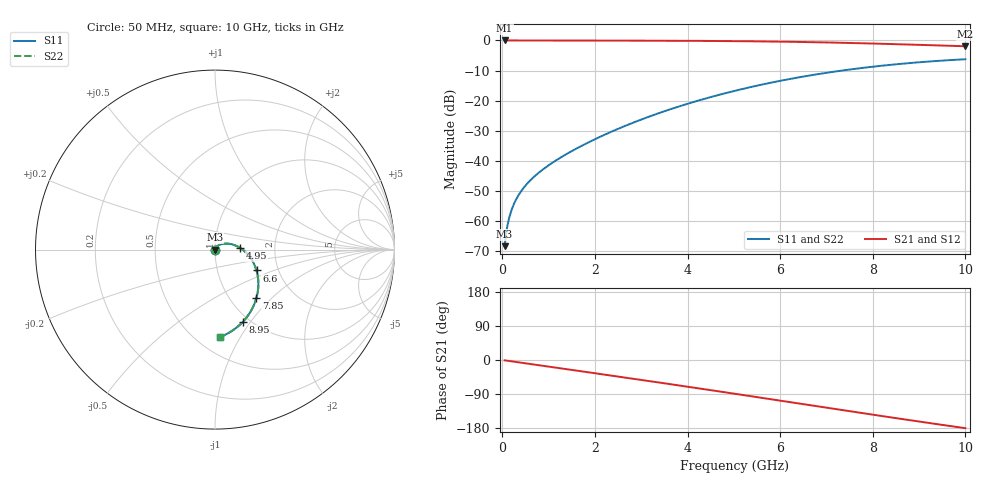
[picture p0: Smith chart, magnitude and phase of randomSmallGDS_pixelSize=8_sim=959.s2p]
! freq	dB(S11)	phase(S11)	dB(S12)	phase(S12)
!  dB(S21)	phase(S21)	dB(S22)	phase(S22)
!S-par simulation data
#  GHz  S  DB  R 50
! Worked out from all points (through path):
!   200 points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, 50 MHz to 10 GHz, reference 50 ohm
!   highest |S21| = 0.00 dB at 50 MHz (marker M1); lowest = -1.9 dB at 10 GHz (marker M2)
!   group delay of S21, straight-line fit = 50.4 ps
!   lowest |S11| = -68.4 dB at 50 MHz (marker M3), VSWR 1.00, Z = 50 + j0.0379 ohm
!   |S11| at or under -10 dB: start of sweep to 7.337 GHz
!   |S22| runs from -68.4 to -6.2 dB; largest |S21 - S12| = 0
!   S11 on the Smith chart (normalised r, x): 50 MHz: 1.00, +0.00; 4.95 GHz: 1.33, +0.02; 6.6 GHz: 1.54, -0.39; 7.85 GHz: 1.32, -0.81; 8.95 GHz: 0.93, -0.92; 10 GHz: 0.65, -0.83
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0.05  -68.37 83.5  -0.00 -0.9  -0.00 -0.9  -68.37 83.5
0.1  -62.37 85.3  -0.00 -1.8  -0.00 -1.8  -62.37 85.3
0.15  -58.85 85.3  -0.00 -2.6  -0.00 -2.6  -58.85 85.3
0.2  -56.34 84.9  -0.00 -3.5  -0.00 -3.5  -56.34 84.9
0.3  -52.79 83.5  -0.00 -5.3  -0.00 -5.3  -52.79 83.5
0.45  -49.19 81.3  -0.01 -7.9  -0.01 -7.9  -49.19 81.3
0.65  -45.81 78.3  -0.01 -11.4  -0.01 -11.4  -45.81 78.2
0.95  -42.04 73.8  -0.02 -16.6  -0.02 -16.6  -42.04 73.7
1.3  -38.54 68.4  -0.03 -22.7  -0.03 -22.7  -38.54 68.3
1.75  -34.73 61.0  -0.04 -30.6  -0.04 -30.6  -34.73 61.0
2.55  -29.04 47.2  -0.05 -44.6  -0.05 -44.6  -29.04 47.1
3.4  -24.06 31.9  -0.09 -59.7  -0.09 -59.7  -24.06 31.8
4.2  -20.13 17.4  -0.14 -74.1  -0.14 -74.1  -20.13 17.3
4.95  -17.01 3.7  -0.21 -87.8  -0.21 -87.8  -17.01 3.6
5.05  -16.63 1.9  -0.23 -89.6  -0.23 -89.6  -16.63 1.8
5.8  -14.04 -12.0  -0.35 -103.5  -0.35 -103.5  -14.04 -12.0
6.6  -11.74 -26.7  -0.54 -118.4  -0.54 -118.4  -11.74 -26.8
6.7  -11.48 -28.5  -0.57 -120.2  -0.57 -120.2  -11.48 -28.6
7.85  -8.99 -49.5  -0.96 -141.6  -0.96 -141.6  -8.99 -49.5
8.35  -8.15 -58.4  -1.17 -150.7  -1.17 -150.7  -8.15 -58.4
8.95  -7.31 -68.8  -1.43 -161.5  -1.43 -161.5  -7.31 -68.9
10  -6.25 -86.5  -1.93 -179.9  -1.93 -179.9  -6.25 -86.6
